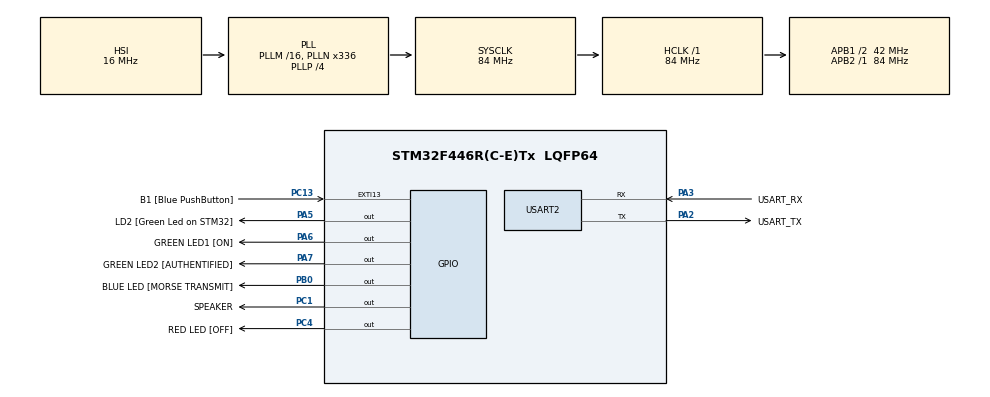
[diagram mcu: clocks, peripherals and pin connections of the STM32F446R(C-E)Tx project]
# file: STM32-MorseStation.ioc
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FREERTOS.Tasks01=defaultTask,24,128,StartDefaultTask,Default,NULL,Dynamic,NULL,NULL
FREERTOS.configUSE_NEWLIB_REENTRANT=1
Mcu.Family=STM32F4
Mcu.Name=STM32F446R(C-E)Tx
Mcu.Package=LQFP64
NVIC.EXTI15_10_IRQn=true\:5\:0\:false\:false\:true\:true\:true\:true\:true
NVIC.PriorityGroup=NVIC_PRIORITYGROUP_4
NVIC.TIM6_DAC_IRQn=true\:15\:0\:false\:false\:true\:false\:false\:true\:true
NVIC.TimeBase=TIM6_DAC_IRQn
NVIC.TimeBaseIP=TIM6
NVIC.USART2_IRQn=true\:5\:0\:false\:false\:true\:true\:true\:true\:true
PA13.GPIO_Label=TMS
PA13.Mode=Serial_Wire
PA13.Signal=SYS_JTMS-SWDIO
PA14.GPIO_Label=TCK
PA14.Mode=Serial_Wire
PA14.Signal=SYS_JTCK-SWCLK
PA2.GPIO_Label=USART_TX
PA2.Mode=Asynchronous
PA2.Signal=USART2_TX
PA3.GPIO_Label=USART_RX
PA3.Mode=Asynchronous
PA3.Signal=USART2_RX
PA5.GPIO_Label=LD2 [Green Led on STM32]
PA5.Signal=GPIO_Output
PA6.GPIO_Label=GREEN LED1 [ON]
PA6.Signal=GPIO_Output
PA7.GPIO_Label=GREEN LED2 [AUTHENTIFIED]
PA7.Signal=GPIO_Output
PB0.GPIO_Label=BLUE LED [MORSE TRANSMIT]
PB0.Signal=GPIO_Output
PB3.GPIO_Label=SWO
PB3.Signal=SYS_JTDO-SWO
PC1.GPIO_Label=SPEAKER
PC1.Signal=GPIO_Output
PC13.GPIO_Label=B1 [Blue PushButton]
PC13.GPIO_ModeDefaultEXTI=GPIO_MODE_IT_FALLING
PC13.Signal=GPXTI13
PC14-OSC32_IN.Mode=LSE-External-Oscillator
PC14-OSC32_IN.Signal=RCC_OSC32_IN
PC15-OSC32_OUT.Mode=LSE-External-Oscillator
PC15-OSC32_OUT.Signal=RCC_OSC32_OUT
PC4.GPIO_Label=RED LED [OFF]
PC4.Signal=GPIO_Output
PH0-OSC_IN.Mode=HSE-External-Oscillator
PH0-OSC_IN.Signal=RCC_OSC_IN
PH1-OSC_OUT.Mode=HSE-External-Oscillator
PH1-OSC_OUT.Signal=RCC_OSC_OUT
ProjectManager.HeapSize=0x200
ProjectManager.StackSize=0x400
ProjectManager.TargetToolchain=STM32CubeIDE
RCC.48MHZClocksFreq_Value=84000000
RCC.AHBFreq_Value=84000000
RCC.APB1CLKDivider=RCC_HCLK_DIV2
RCC.APB1Freq_Value=42000000
RCC.APB1TimFreq_Value=84000000
RCC.APB2Freq_Value=84000000
RCC.APB2TimFreq_Value=84000000
RCC.CortexFreq_Value=84000000
RCC.FLatency-AdvancedSettings=FLASH_LATENCY_2
RCC.HCLKFreq_Value=84000000
RCC.HSE_VALUE=8000000
RCC.HSI_VALUE=16000000
RCC.PLLN=336
RCC.PLLP=RCC_PLLP_DIV4
RCC.SYSCLKFreq_VALUE=84000000
RCC.SYSCLKSource=RCC_SYSCLKSOURCE_PLLCLK
RCC.USBFreq_Value=168000000
RCC.VCOOutputFreq_Value=336000000
USART2.VirtualMode=VM_ASYNC
VP_FREERTOS_VS_CMSIS_V2.Mode=CMSIS_V2
VP_SYS_VS_tim6.Mode=TIM6
board=NUCLEO-F446RE

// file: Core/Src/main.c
/* USER CODE BEGIN Header */
/**
  ******************************************************************************
  * @file           : main.c
  * @brief          : Main program body
  ******************************************************************************
  * @attention
  *
  * Copyright (c) 2026 STMicroelectronics.
  * All rights reserved.
  *
  * This software is licensed under terms that can be found in the LICENSE file
  * in the root directory of this software component.
  * If no LICENSE file comes with this software, it is provided AS-IS.
  *
  ******************************************************************************
  */
/* USER CODE END Header */
#include "main.h"
#include "cmsis_os.h"

/* USER CODE BEGIN Includes */
#include "globals_var.h"
#include "task_uart.h"
#include "task_print.h"
#include "task_encoder.h"
#include "task_led_and_speaker.h"
#include "task_button.h"
/* USER CODE END Includes */

/* Definitions for defaultTask */
/* USER CODE BEGIN PV */

/* All global variables are defined and initialized in globals_var.c.
 * See globals_var.h for the full list and documentation.         */

/* USER CODE END PV */

void SystemClock_Config(void);
static void MX_GPIO_Init(void);
static void MX_USART2_UART_Init(void);

int main(void)
{

  /* MCU Configuration--------------------------------------------------------*/

  /* Reset of all peripherals, Initializes the Flash interface and the Systick. */
  HAL_Init();

  /* Configure the system clock */
  SystemClock_Config();

  /* Initialize all configured peripherals */
  MX_GPIO_Init();
  MX_USART2_UART_Init();
  /* USER CODE BEGIN 2 */

  /* == FreeRTOS primitives initialization ==
   * Mutexes, semaphores and queues must be created before osKernelStart().
   * Task handles are stored in globals_var for inter-task communication.  */

  /* USER CODE END 2 */

  /* Init scheduler */
  osKernelInitialize();

  /* USER CODE BEGIN RTOS_MUTEX */
  /* add mutexes, ... */
  xMutexPrint = xSemaphoreCreateMutex();
  xMutexStruct = xSemaphoreCreateMutex();
  /* USER CODE END RTOS_MUTEX */

  /* USER CODE BEGIN RTOS_SEMAPHORES */
  /* add semaphores, ... */
  xSemaphoreButton = xSemaphoreCreateBinary();
  /* USER CODE END RTOS_SEMAPHORES */

  /* USER CODE BEGIN RTOS_QUEUES */
  /* add queues, ... */
  xQueueUart = xQueueCreate(64, sizeof(uint8_t));
  xQueuePrint = xQueueCreate(64, sizeof(char));
  xQueueEncoder = xQueueCreate(64, sizeof(char));
  xQueueLedAndSpeaker = xQueueCreate(64, sizeof(char));

  /* USER CODE END RTOS_QUEUES */

  /* Create the thread(s) */
  /* creation of defaultTask */

  /* USER CODE BEGIN RTOS_THREADS */
  /* add threads, ... */

  /* == Task priority map ==
   *   task_uart           : 7  — highest, drives the whole pipeline.
   *   task_encoder        : 6  — encodes morse, feeds task_led_and_speaker.
   *   task_led_and_speaker: 6  — plays morse on LEDs and speaker.
   *   task_print          : 5  — serializes all UART transmissions.
   *   task_button         : 4  — lowest, displays system state on button press. */

  xTaskCreate(task_uart, "UART", 116, NULL, 7, NULL);
  xTaskCreate(task_print, "PRINT", 94, NULL, 5, NULL);
  xTaskCreate(task_encoder, "ENCODER", 160, NULL, 6, NULL);
  xTaskCreate(task_led_and_speaker, "LEDANDSPEAKER", 192, NULL, 6, &xTaskLedAndSpeakerHandle);
  xTaskCreate(task_button, "BUTTON", 80, NULL, 4, NULL);
  /* USER CODE END RTOS_THREADS */

  /* Start scheduler */
  osKernelStart();

  /* We should never get here as control is now taken by the scheduler */

  /* Infinite loop */
  while (1)
  {

  }
}

void SystemClock_Config(void)
{
  RCC_OscInitTypeDef RCC_OscInitStruct = {0};
  RCC_ClkInitTypeDef RCC_ClkInitStruct = {0};

  /** Configure the main internal regulator output voltage
  */
  __HAL_RCC_PWR_CLK_ENABLE();
  __HAL_PWR_VOLTAGESCALING_CONFIG(PWR_REGULATOR_VOLTAGE_SCALE3);

  /** Initializes the RCC Oscillators according to the specified parameters
  * in the RCC_OscInitTypeDef structure.
  */
  RCC_OscInitStruct.OscillatorType = RCC_OSCILLATORTYPE_HSI;
  RCC_OscInitStruct.HSIState = RCC_HSI_ON;
  RCC_OscInitStruct.HSICalibrationValue = RCC_HSICALIBRATION_DEFAULT;
  RCC_OscInitStruct.PLL.PLLState = RCC_PLL_ON;
  RCC_OscInitStruct.PLL.PLLSource = RCC_PLLSOURCE_HSI;
  RCC_OscInitStruct.PLL.PLLM = 16;
  RCC_OscInitStruct.PLL.PLLN = 336;
  RCC_OscInitStruct.PLL.PLLP = RCC_PLLP_DIV4;
  RCC_OscInitStruct.PLL.PLLQ = 2;
  RCC_OscInitStruct.PLL.PLLR = 2;
  if (HAL_RCC_OscConfig(&RCC_OscInitStruct) != HAL_OK)
  {
    Error_Handler();
  }

  /** Initializes the CPU, AHB and APB buses clocks
  */
  RCC_ClkInitStruct.ClockType = RCC_CLOCKTYPE_HCLK|RCC_CLOCKTYPE_SYSCLK
                              |RCC_CLOCKTYPE_PCLK1|RCC_CLOCKTYPE_PCLK2;
  RCC_ClkInitStruct.SYSCLKSource = RCC_SYSCLKSOURCE_PLLCLK;
  RCC_ClkInitStruct.AHBCLKDivider = RCC_SYSCLK_DIV1;
  RCC_ClkInitStruct.APB1CLKDivider = RCC_HCLK_DIV2;
  RCC_ClkInitStruct.APB2CLKDivider = RCC_HCLK_DIV1;

  if (HAL_RCC_ClockConfig(&RCC_ClkInitStruct, FLASH_LATENCY_2) != HAL_OK)
  {
    Error_Handler();
  }
}

static void MX_USART2_UART_Init(void)
{

  huart2.Instance = USART2;
  huart2.Init.BaudRate = 115200;
  huart2.Init.WordLength = UART_WORDLENGTH_8B;
  huart2.Init.StopBits = UART_STOPBITS_1;
  huart2.Init.Parity = UART_PARITY_NONE;
  huart2.Init.Mode = UART_MODE_TX_RX;
  huart2.Init.HwFlowCtl = UART_HWCONTROL_NONE;
  huart2.Init.OverSampling = UART_OVERSAMPLING_16;
  if (HAL_UART_Init(&huart2) != HAL_OK)
  {
    Error_Handler();
  }

}

static void MX_GPIO_Init(void)
{
  GPIO_InitTypeDef GPIO_InitStruct = {0};

  /* GPIO Ports Clock Enable */
  __HAL_RCC_GPIOC_CLK_ENABLE();
  __HAL_RCC_GPIOH_CLK_ENABLE();
  __HAL_RCC_GPIOA_CLK_ENABLE();
  __HAL_RCC_GPIOB_CLK_ENABLE();

  /*Configure GPIO pin Output Level */
  HAL_GPIO_WritePin(GPIOC, SPEAKER_Pin|RED_LED_Pin, GPIO_PIN_RESET);

  /*Configure GPIO pin Output Level */
  HAL_GPIO_WritePin(GPIOA, LD2_Pin|GREEN_LED1_Pin|GREEN_LED2_Pin, GPIO_PIN_RESET);

  /*Configure GPIO pin Output Level */
  HAL_GPIO_WritePin(BLUE_LED_GPIO_Port, BLUE_LED_Pin, GPIO_PIN_RESET);

  /*Configure GPIO pin : B1_Pin */
  GPIO_InitStruct.Pin = B1_Pin;
  GPIO_InitStruct.Mode = GPIO_MODE_IT_FALLING;
  GPIO_InitStruct.Pull = GPIO_NOPULL;
  HAL_GPIO_Init(B1_GPIO_Port, &GPIO_InitStruct);

  /*Configure GPIO pins : SPEAKER_Pin RED_LED_Pin */
  GPIO_InitStruct.Pin = SPEAKER_Pin|RED_LED_Pin;
  GPIO_InitStruct.Mode = GPIO_MODE_OUTPUT_PP;
  GPIO_InitStruct.Pull = GPIO_NOPULL;
  GPIO_InitStruct.Speed = GPIO_SPEED_FREQ_LOW;
  HAL_GPIO_Init(GPIOC, &GPIO_InitStruct);

  /*Configure GPIO pins : LD2_Pin GREEN_LED1_Pin GREEN_LED2_Pin */
  GPIO_InitStruct.Pin = LD2_Pin|GREEN_LED1_Pin|GREEN_LED2_Pin;
  GPIO_InitStruct.Mode = GPIO_MODE_OUTPUT_PP;
  GPIO_InitStruct.Pull = GPIO_NOPULL;
  GPIO_InitStruct.Speed = GPIO_SPEED_FREQ_LOW;
  HAL_GPIO_Init(GPIOA, &GPIO_InitStruct);

  /*Configure GPIO pin : BLUE_LED_Pin */
  GPIO_InitStruct.Pin = BLUE_LED_Pin;
  GPIO_InitStruct.Mode = GPIO_MODE_OUTPUT_PP;
  GPIO_InitStruct.Pull = GPIO_NOPULL;
  GPIO_InitStruct.Speed = GPIO_SPEED_FREQ_LOW;
  HAL_GPIO_Init(BLUE_LED_GPIO_Port, &GPIO_InitStruct);

  /* EXTI interrupt init*/
  HAL_NVIC_SetPriority(EXTI15_10_IRQn, 5, 0);
  HAL_NVIC_EnableIRQ(EXTI15_10_IRQn);

}

void HAL_TIM_PeriodElapsedCallback(TIM_HandleTypeDef *htim)
{
  if (htim->Instance == TIM6)
  {
    HAL_IncTick();
  }
}

void Error_Handler(void)
{
  __disable_irq();
  while (1)
  {
  }
}
